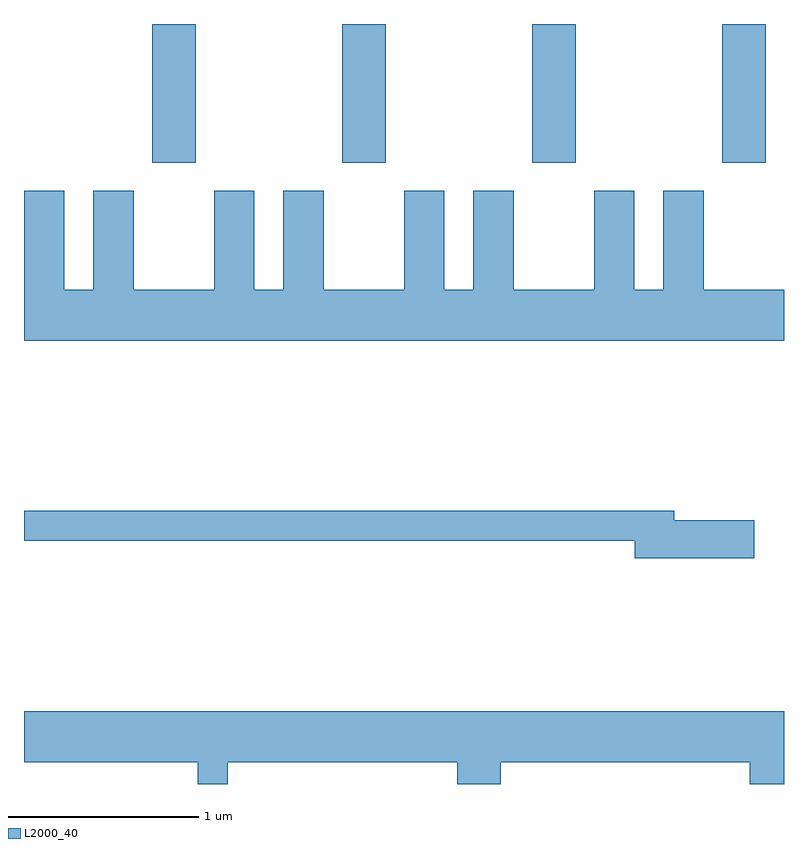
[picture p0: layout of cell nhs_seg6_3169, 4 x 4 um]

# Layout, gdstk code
import gdstk
lib = gdstk.Library(unit=1e-6, precision=1e-09)
def R(c, l, rs):  # rectangles x0, y0, x1, y1
    for r in rs: c.add(gdstk.rectangle(r[:2], r[2:], *l))
def A(c, l, x, y, w, h, nx, ny, dx, dy):  # array of equal rectangles
    R(c, l, [(x+i*dx, y+j*dy, x+i*dx+w, y+j*dy+h) for i in range(nx) for j in range(ny)])
def P(c, l, *ps):  # polygons
    for p in ps: c.add(gdstk.Polygon(p, *l))
L2000_40 = (2000, 40)

nhs_seg6_3169 = lib.new_cell('nhs_seg6_3169')
A(nhs_seg6_3169, L2000_40, 282.286, 1535.431, 0.228, 0.731, 4, 1, 1, 0)
P(nhs_seg6_3169, L2000_40, [(285.611,1534.764),(285.189,1534.764),(285.189,1535.284),(284.976,1535.284),(284.976,1534.764),(284.824,1534.764),(284.824,1535.284),(284.611,1535.284),(284.611,1534.764),(284.189,1534.764),(284.189,1535.284),(283.976,1535.284),(283.976,1534.764),(283.824,1534.764),(283.824,1535.284),(283.611,1535.284),(283.611,1534.764),(283.189,1534.764),(283.189,1535.284),(282.976,1535.284),(282.976,1534.764),(282.824,1534.764),(282.824,1535.284),(282.611,1535.284),(282.611,1534.764),(282.189,1534.764),(282.189,1535.284),(281.976,1535.284),(281.976,1534.764),(281.824,1534.764),(281.824,1535.284),(281.611,1535.284),(281.611,1534.496),(285.611,1534.496)],
  [(285.454,1533.549),(285.034,1533.549),(285.034,1533.599),(281.611,1533.599),(281.611,1533.441),(284.826,1533.441),(284.826,1533.351),(285.454,1533.351)],
  [(281.611,1532.276),(282.526,1532.276),(282.526,1532.162),(282.684,1532.162),(282.684,1532.276),(283.891,1532.276),(283.891,1532.162),(284.119,1532.162),(284.119,1532.276),(285.431,1532.276),(285.431,1532.162),(285.611,1532.162),(285.611,1532.544),(281.611,1532.544)])

lib.write_gds('nhs_seg6_3169.gds')
